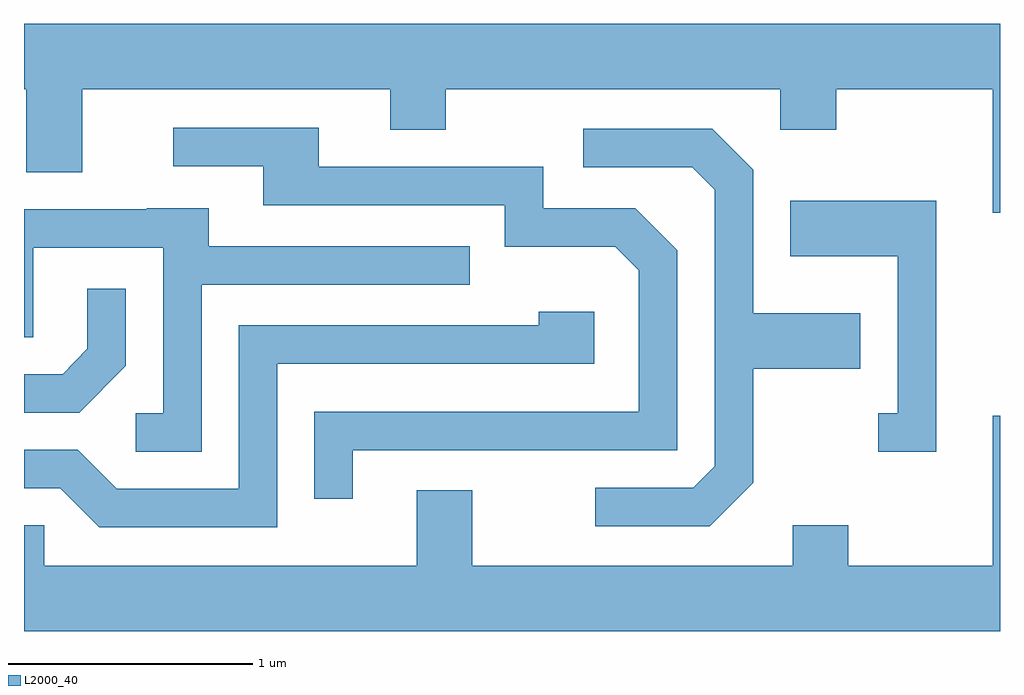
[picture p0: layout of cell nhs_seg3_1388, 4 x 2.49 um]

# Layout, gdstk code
import gdstk
lib = gdstk.Library(unit=1e-6, precision=1e-09)
def P(c, l, *ps):  # polygons
    for p in ps: c.add(gdstk.Polygon(p, *l))
L2000_40 = (2000, 40)

nhs_seg3_1388 = lib.new_cell('nhs_seg3_1388')
P(nhs_seg3_1388, L2000_40, [(229.611,1175.124),(225.611,1175.124),(225.611,1174.856),(225.621,1174.856),(225.621,1174.516),(225.849,1174.516),(225.849,1174.856),(227.111,1174.856),(227.111,1174.691),(227.339,1174.691),(227.339,1174.856),(228.711,1174.856),(228.711,1174.691),(228.939,1174.691),(228.939,1174.856),(229.581,1174.856),(229.581,1174.351),(229.611,1174.351)],
  [(226.959,1173.376),(228.289,1173.376),(228.289,1174.197),(228.117,1174.369),(227.739,1174.369),(227.739,1174.539),(226.819,1174.539),(226.819,1174.699),(226.223,1174.699),(226.223,1174.541),(226.591,1174.541),(226.591,1174.381),(227.581,1174.381),(227.581,1174.211),(228.034,1174.211),(228.131,1174.114),(228.131,1173.534),(226.801,1173.534),(226.801,1173.178),(226.959,1173.178)],
  [(228.599,1173.244),(228.599,1173.711),(229.039,1173.711),(229.039,1173.939),(228.599,1173.939),(228.599,1174.527),(228.432,1174.694),(227.903,1174.694),(227.903,1174.536),(228.349,1174.536),(228.441,1174.444),(228.441,1173.312),(228.354,1173.224),(227.953,1173.224),(227.953,1173.066),(228.422,1173.066)],
  [(229.349,1174.399),(228.751,1174.399),(228.751,1174.171),(229.191,1174.171),(229.191,1173.529),(229.113,1173.529),(229.113,1173.371),(229.349,1173.371)],
  [(226.339,1174.056),(227.438,1174.056),(227.438,1174.214),(226.369,1174.214),(226.369,1174.369),(226.115,1174.369),(226.115,1174.364),(225.611,1174.364),(225.611,1173.841),(225.649,1173.841),(225.649,1174.206),(226.181,1174.206),(226.181,1173.529),(226.068,1173.529),(226.068,1173.371),(226.339,1173.371)],
  [(226.029,1173.724),(226.029,1174.038),(225.871,1174.038),(225.871,1173.792),(225.769,1173.689),(225.611,1173.689),(225.611,1173.531),(225.837,1173.531)],
  [(226.649,1173.731),(227.949,1173.731),(227.949,1173.944),(227.721,1173.944),(227.721,1173.889),(226.491,1173.889),(226.491,1173.219),(225.992,1173.219),(225.832,1173.379),(225.611,1173.379),(225.611,1173.221),(225.759,1173.221),(225.919,1173.061),(226.649,1173.061)],
  [(229.611,1173.519),(229.581,1173.519),(229.581,1172.904),(228.989,1172.904),(228.989,1173.069),(228.761,1173.069),(228.761,1172.904),(227.449,1172.904),(227.449,1173.214),(227.221,1173.214),(227.221,1172.904),(225.694,1172.904),(225.694,1173.069),(225.611,1173.069),(225.611,1172.636),(229.611,1172.636)])

lib.write_gds('nhs_seg3_1388.gds')
